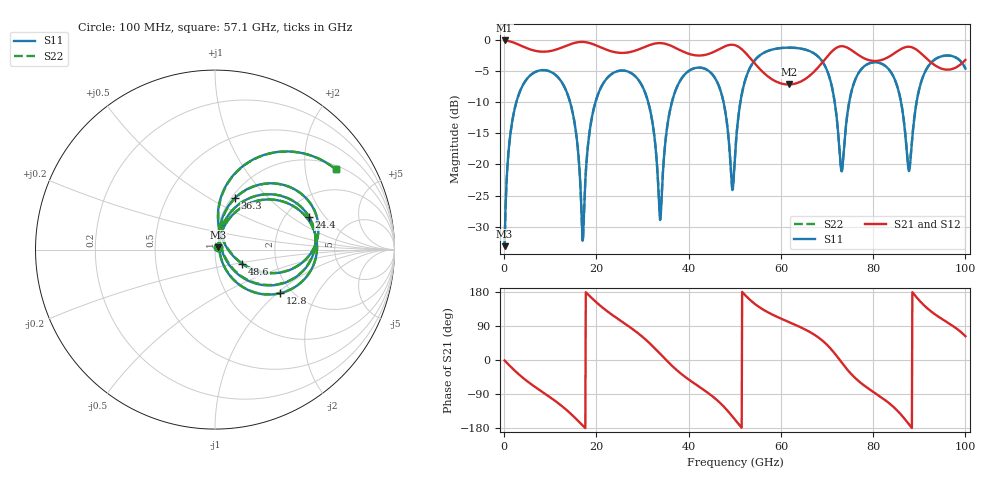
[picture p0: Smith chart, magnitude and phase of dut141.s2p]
! Touchstone file exported from HFSS 2026.1.0
!  File:  C:/ffzhzh/LocalFiles/Ansys_Project_Files/temp_train_TSV_RDL_141_1783642556_29156.aedt
!  Generated:  08:25:56 AM Jul 10, 2026
!  Design:  TSV_RDL
!  Project:  temp_train_TSV_RDL_141_1783642556_29156
! Variables:
!  h_bsmrdl = 3.72um
!  h_ox = 20um
!  h_rdl = 5um
!  h_sub = 74.8um
!  h_tmrdl = 4.04um
!  h_tsv = 74.8um
!  h_via = 3um
!  l_bsmrdl = 380.82um
!  l_sub = 3360.36um
!  l_tmrdl = 428.18um
!  m_sub = 200um
!  pitch = 50.34um
!  r_tsv = 9.57um
!  s_tmrdl = 10um
!  w_bsmrdl = 21.36um
!  w_sub = 500um
!  w_tmrdl = 13.7um
!  x_tsv_center1 = 435.03um
!  x_tsv_center2 = 837.21um
!  x_tsv_center3 = 1279.09um
!  x_tsv_center4 = 1681.27um
!  x_tsv_center5 = 2123.15um
!  x_tsv_center6 = 2525.33um
# GHz S MA R 50.000000
! Terminal data exported
! Port[1] = TM_RDL1_1_T1
! Port[2] = TM_RDL5_1_T1
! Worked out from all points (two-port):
!   1000 points, 100 MHz to 100 GHz, reference 50 ohm
!   highest |S21| = -0.15 dB at 100 MHz (marker M1); lowest = -7.2 dB at 61.7 GHz (marker M2)
!   |S21| within 3 dB of the highest: start of sweep to 53.54 GHz; 82.33 GHz to 91.75 GHz (9.419 GHz wide, 10.8 % of centre) (the widest 2 of 3)
!   lowest |S11| = -33.1 dB at 100 MHz (marker M3), VSWR 1.05, Z = 51.8 + j1.41 ohm
!   |S11| at or under -10 dB: 14.29 GHz to 19.81 GHz (5.523 GHz wide, 32.4 % of centre); 31.22 GHz to 36.38 GHz (5.165 GHz wide, 15.3 % of centre); 47.55 GHz to 51.22 GHz (3.669 GHz wide, 7.43 % of centre) (the widest 3 of 6)
!   |S22| runs from -33.1 to -1.3 dB; largest |S21 - S12| = 7.3e-11
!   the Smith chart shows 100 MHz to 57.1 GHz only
!   S11 on the Smith chart (normalised r, x): 100 MHz: 1.04, +0.03; 12.8 GHz: 1.73, -1.04; 24.4 GHz: 2.67, +1.40; 36.3 GHz: 1.04, +0.66; 48.6 GHz: 1.33, -0.22; 57.1 GHz: 1.13, +2.91
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0.1  0.02213 37.8  0.9827 -1.3  0.9827 -1.3  0.02213 37.8
! Gamma 0 0 0 0
! Port Impedance 50 0 50 0
3.5  0.3903 45.5  0.8979 -41.2  0.8979 -41.2  0.3903 45.5
12.8  0.4356 -34.0  0.8709 -124.4  0.8709 -124.4  0.4356 -33.9
16.8  0.03819 -42.7  0.9569 -170.0  0.9569 -170.0  0.03842 -42.2
19.6  0.2964 61.1  0.9081 156.5  0.9081 156.5  0.2964 61.2
24.4  0.5552 19.1  0.787 110.7  0.787 110.7  0.5552 19.2
30.7  0.3638 -33.3  0.8786 53.7  0.8786 53.7  0.3638 -32.8
33.4  0.06789 -38.4  0.9358 21.5  0.9358 21.5  0.06925 -36.2
36.3  0.3077 68.9  0.8864 -14.3  0.8864 -14.3  0.3082 68.5
44  0.5713 5.6  0.7599 -85.1  0.7599 -85.1  0.5715 5.6
48.6  0.17 -27.6  0.901 -136.2  0.901 -136.2  0.1708 -27.0
50.1  0.1252 80.0  0.8993 -158.3  0.8993 -158.3  0.1264 79.2
52.4  0.4908 71.5  0.7768 169.3  0.7768 169.3  0.4911 71.3
57.1  0.8078 33.7  0.5093 126.4  0.5093 126.4  0.8079 33.7
61.7  0.861 9.8  0.4362 100.3  0.4362 100.3  0.861 9.8
66.7  0.7928 -16.8  0.5309 70.9  0.5309 70.9  0.7929 -16.7
73.2  0.08791 -1.7  0.8841 -7.0  0.8841 -7.0  0.08825 -1.7
76.6  0.5205 31.0  0.7609 -53.0  0.7609 -53.0  0.5204 31.1
83.4  0.577 -20.0  0.7272 -113.3  0.7272 -113.3  0.577 -19.6
88.6  0.1809 57.7  0.861 177.5  0.861 177.5  0.1836 56.7
92.2  0.628 36.4  0.6725 131.7  0.6725 131.7  0.6286 36.2
100  0.5851 -19.5  0.686 62.8  0.686 62.8  0.5851 -19.4
